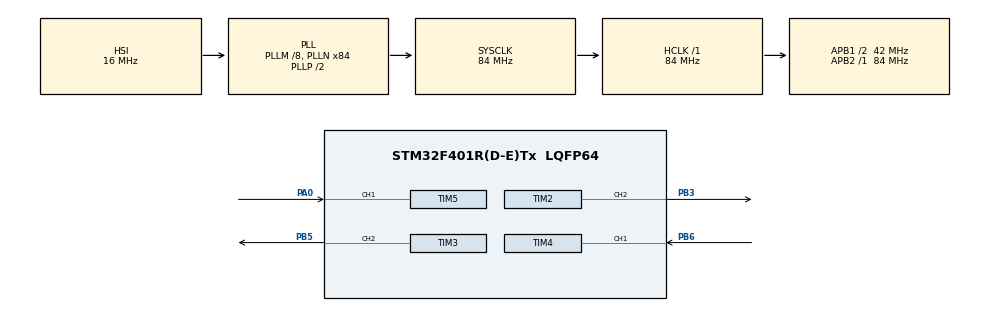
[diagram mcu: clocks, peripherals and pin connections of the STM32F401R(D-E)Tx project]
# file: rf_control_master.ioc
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Mcu.Family=STM32F4
Mcu.Name=STM32F401R(D-E)Tx
Mcu.Package=LQFP64
NVIC.PriorityGroup=NVIC_PRIORITYGROUP_4
NVIC.TIM4_IRQn=true\:0\:0\:false\:false\:true\:true\:true\:true
NVIC.TIM5_IRQn=true\:0\:0\:false\:false\:true\:true\:true\:true
PA0-WKUP.Signal=S_TIM5_CH1
PA13.Mode=Serial_Wire
PA13.Signal=SYS_JTMS-SWDIO
PA14.Mode=Serial_Wire
PA14.Signal=SYS_JTCK-SWCLK
PB3.Signal=S_TIM2_CH2
PB5.Signal=S_TIM3_CH2
PB6.Signal=S_TIM4_CH1
ProjectManager.HeapSize=0x200
ProjectManager.StackSize=0x400
ProjectManager.TargetToolchain=STM32CubeIDE
RCC.48MHZClocksFreq_Value=42000000
RCC.AHBFreq_Value=84000000
RCC.APB1CLKDivider=RCC_HCLK_DIV2
RCC.APB1Freq_Value=42000000
RCC.APB1TimFreq_Value=84000000
RCC.APB2Freq_Value=84000000
RCC.APB2TimFreq_Value=84000000
RCC.CortexFreq_Value=84000000
RCC.HCLKFreq_Value=84000000
RCC.HSE_VALUE=25000000
RCC.HSI_VALUE=16000000
RCC.LSE_VALUE=32768
RCC.PLLM=8
RCC.PLLN=84
RCC.SYSCLKFreq_VALUE=84000000
RCC.SYSCLKSource=RCC_SYSCLKSOURCE_PLLCLK
RCC.VCOOutputFreq_Value=168000000
SH.S_TIM2_CH2.0=TIM2_CH2,PWM Generation2 CH2
SH.S_TIM3_CH2.0=TIM3_CH2,PWM Generation2 CH2
SH.S_TIM4_CH1.0=TIM4_CH1,PWM_Input_1
SH.S_TIM5_CH1.0=TIM5_CH1,PWM_Input_1
TIM2.Channel-PWM\ Generation2\ CH2=TIM_CHANNEL_2
TIM2.Period=2000-1
TIM2.Prescaler=840-1
TIM3.Channel-PWM\ Generation2\ CH2=TIM_CHANNEL_2
TIM3.Period=2000-1
TIM3.Prescaler=840-1
TIM4.Prescaler=840-1
TIM5.Prescaler=840-1
VP_TIM2_VS_ClockSourceINT.Mode=Internal
VP_TIM3_VS_ClockSourceINT.Mode=Internal
board=custom

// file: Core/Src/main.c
/* USER CODE BEGIN Header */
/**
  ******************************************************************************
  * @file           : main.c
  * @brief          : Main program body
  ******************************************************************************
  * @attention
  *
  * Copyright (c) 2024 STMicroelectronics.
  * All rights reserved.
  *
  * This software is licensed under terms that can be found in the LICENSE file
  * in the root directory of this software component.
  * If no LICENSE file comes with this software, it is provided AS-IS.
  *
  ******************************************************************************
  */
/* USER CODE END Header */
#include "main.h"

/* USER CODE BEGIN Includes */
#include "math.h"
/* USER CODE END Includes */

TIM_HandleTypeDef htim2;
TIM_HandleTypeDef htim3;
TIM_HandleTypeDef htim4;
TIM_HandleTypeDef htim5;

/* USER CODE BEGIN PV */
uint32_t ICValue=0;
uint32_t frequency =0,te=0;
double Duty =0;
uint16_t valueServo=0, valueBLDC=0;

/* USER CODE END PV */

void SystemClock_Config(void);
static void MX_GPIO_Init(void);
static void MX_TIM2_Init(void);
static void MX_TIM3_Init(void);
static void MX_TIM4_Init(void);
static void MX_TIM5_Init(void);
/* USER CODE BEGIN PFP */
void HAL_TIM_IC_CaptureCallback(TIM_HandleTypeDef *htim);
int32_t map(int32_t x, int32_t in_min, int32_t in_max, int32_t out_min, int32_t out_max);

/* USER CODE END PFP */

int main(void)
{

  /* MCU Configuration--------------------------------------------------------*/

  /* Reset of all peripherals, Initializes the Flash interface and the Systick. */
  HAL_Init();

  /* Configure the system clock */
  SystemClock_Config();

  /* Initialize all configured peripherals */
  MX_GPIO_Init();
  MX_TIM2_Init();
  MX_TIM3_Init();
  MX_TIM4_Init();
  MX_TIM5_Init();
  /* USER CODE BEGIN 2 */
  /*TIM_4, TIM_9 read PWM */
  HAL_TIM_IC_Start_IT(&htim4, TIM_CHANNEL_1);//main channel
  HAL_TIM_IC_Start_IT(&htim4, TIM_CHANNEL_2);//indirect channel

  HAL_TIM_IC_Start_IT(&htim5, TIM_CHANNEL_1);//main channel
  HAL_TIM_IC_Start_IT(&htim5, TIM_CHANNEL_2);//indirect channel
  /*TIM_3_Ch2:servo, TIM_2_Ch2:bldc */
  HAL_TIM_PWM_Start(&htim2, TIM_CHANNEL_2);
  HAL_TIM_PWM_Start(&htim3, TIM_CHANNEL_2);

  /* USER CODE END 2 */

  /* Infinite loop */
  while (1)
  {

  }
}

void SystemClock_Config(void)
{
  RCC_OscInitTypeDef RCC_OscInitStruct = {0};
  RCC_ClkInitTypeDef RCC_ClkInitStruct = {0};

  /** Configure the main internal regulator output voltage
  */
  __HAL_RCC_PWR_CLK_ENABLE();
  __HAL_PWR_VOLTAGESCALING_CONFIG(PWR_REGULATOR_VOLTAGE_SCALE2);

  /** Initializes the RCC Oscillators according to the specified parameters
  * in the RCC_OscInitTypeDef structure.
  */
  RCC_OscInitStruct.OscillatorType = RCC_OSCILLATORTYPE_HSI;
  RCC_OscInitStruct.HSIState = RCC_HSI_ON;
  RCC_OscInitStruct.HSICalibrationValue = RCC_HSICALIBRATION_DEFAULT;
  RCC_OscInitStruct.PLL.PLLState = RCC_PLL_ON;
  RCC_OscInitStruct.PLL.PLLSource = RCC_PLLSOURCE_HSI;
  RCC_OscInitStruct.PLL.PLLM = 8;
  RCC_OscInitStruct.PLL.PLLN = 84;
  RCC_OscInitStruct.PLL.PLLP = RCC_PLLP_DIV2;
  RCC_OscInitStruct.PLL.PLLQ = 4;
  if (HAL_RCC_OscConfig(&RCC_OscInitStruct) != HAL_OK)
  {
    Error_Handler();
  }

  /** Initializes the CPU, AHB and APB buses clocks
  */
  RCC_ClkInitStruct.ClockType = RCC_CLOCKTYPE_HCLK|RCC_CLOCKTYPE_SYSCLK
                              |RCC_CLOCKTYPE_PCLK1|RCC_CLOCKTYPE_PCLK2;
  RCC_ClkInitStruct.SYSCLKSource = RCC_SYSCLKSOURCE_PLLCLK;
  RCC_ClkInitStruct.AHBCLKDivider = RCC_SYSCLK_DIV1;
  RCC_ClkInitStruct.APB1CLKDivider = RCC_HCLK_DIV2;
  RCC_ClkInitStruct.APB2CLKDivider = RCC_HCLK_DIV1;

  if (HAL_RCC_ClockConfig(&RCC_ClkInitStruct, FLASH_LATENCY_2) != HAL_OK)
  {
    Error_Handler();
  }
}

static void MX_TIM2_Init(void)
{

  TIM_ClockConfigTypeDef sClockSourceConfig = {0};
  TIM_MasterConfigTypeDef sMasterConfig = {0};
  TIM_OC_InitTypeDef sConfigOC = {0};

  htim2.Instance = TIM2;
  htim2.Init.Prescaler = 840-1;
  htim2.Init.CounterMode = TIM_COUNTERMODE_UP;
  htim2.Init.Period = 2000-1;
  htim2.Init.ClockDivision = TIM_CLOCKDIVISION_DIV1;
  htim2.Init.AutoReloadPreload = TIM_AUTORELOAD_PRELOAD_DISABLE;
  if (HAL_TIM_Base_Init(&htim2) != HAL_OK)
  {
    Error_Handler();
  }
  sClockSourceConfig.ClockSource = TIM_CLOCKSOURCE_INTERNAL;
  if (HAL_TIM_ConfigClockSource(&htim2, &sClockSourceConfig) != HAL_OK)
  {
    Error_Handler();
  }
  if (HAL_TIM_PWM_Init(&htim2) != HAL_OK)
  {
    Error_Handler();
  }
  sMasterConfig.MasterOutputTrigger = TIM_TRGO_RESET;
  sMasterConfig.MasterSlaveMode = TIM_MASTERSLAVEMODE_DISABLE;
  if (HAL_TIMEx_MasterConfigSynchronization(&htim2, &sMasterConfig) != HAL_OK)
  {
    Error_Handler();
  }
  sConfigOC.OCMode = TIM_OCMODE_PWM1;
  sConfigOC.Pulse = 0;
  sConfigOC.OCPolarity = TIM_OCPOLARITY_HIGH;
  sConfigOC.OCFastMode = TIM_OCFAST_DISABLE;
  if (HAL_TIM_PWM_ConfigChannel(&htim2, &sConfigOC, TIM_CHANNEL_2) != HAL_OK)
  {
    Error_Handler();
  }
  HAL_TIM_MspPostInit(&htim2);

}

static void MX_TIM3_Init(void)
{

  TIM_ClockConfigTypeDef sClockSourceConfig = {0};
  TIM_MasterConfigTypeDef sMasterConfig = {0};
  TIM_OC_InitTypeDef sConfigOC = {0};

  htim3.Instance = TIM3;
  htim3.Init.Prescaler = 840-1;
  htim3.Init.CounterMode = TIM_COUNTERMODE_UP;
  htim3.Init.Period = 2000-1;
  htim3.Init.ClockDivision = TIM_CLOCKDIVISION_DIV1;
  htim3.Init.AutoReloadPreload = TIM_AUTORELOAD_PRELOAD_DISABLE;
  if (HAL_TIM_Base_Init(&htim3) != HAL_OK)
  {
    Error_Handler();
  }
  sClockSourceConfig.ClockSource = TIM_CLOCKSOURCE_INTERNAL;
  if (HAL_TIM_ConfigClockSource(&htim3, &sClockSourceConfig) != HAL_OK)
  {
    Error_Handler();
  }
  if (HAL_TIM_PWM_Init(&htim3) != HAL_OK)
  {
    Error_Handler();
  }
  sMasterConfig.MasterOutputTrigger = TIM_TRGO_RESET;
  sMasterConfig.MasterSlaveMode = TIM_MASTERSLAVEMODE_DISABLE;
  if (HAL_TIMEx_MasterConfigSynchronization(&htim3, &sMasterConfig) != HAL_OK)
  {
    Error_Handler();
  }
  sConfigOC.OCMode = TIM_OCMODE_PWM1;
  sConfigOC.Pulse = 0;
  sConfigOC.OCPolarity = TIM_OCPOLARITY_HIGH;
  sConfigOC.OCFastMode = TIM_OCFAST_DISABLE;
  if (HAL_TIM_PWM_ConfigChannel(&htim3, &sConfigOC, TIM_CHANNEL_2) != HAL_OK)
  {
    Error_Handler();
  }
  HAL_TIM_MspPostInit(&htim3);

}

static void MX_TIM4_Init(void)
{

  TIM_SlaveConfigTypeDef sSlaveConfig = {0};
  TIM_IC_InitTypeDef sConfigIC = {0};
  TIM_MasterConfigTypeDef sMasterConfig = {0};

  htim4.Instance = TIM4;
  htim4.Init.Prescaler = 840-1;
  htim4.Init.CounterMode = TIM_COUNTERMODE_UP;
  htim4.Init.Period = 65535;
  htim4.Init.ClockDivision = TIM_CLOCKDIVISION_DIV1;
  htim4.Init.AutoReloadPreload = TIM_AUTORELOAD_PRELOAD_DISABLE;
  if (HAL_TIM_IC_Init(&htim4) != HAL_OK)
  {
    Error_Handler();
  }
  sSlaveConfig.SlaveMode = TIM_SLAVEMODE_RESET;
  sSlaveConfig.InputTrigger = TIM_TS_TI1FP1;
  sSlaveConfig.TriggerPolarity = TIM_INPUTCHANNELPOLARITY_RISING;
  sSlaveConfig.TriggerPrescaler = TIM_ICPSC_DIV1;
  sSlaveConfig.TriggerFilter = 0;
  if (HAL_TIM_SlaveConfigSynchro(&htim4, &sSlaveConfig) != HAL_OK)
  {
    Error_Handler();
  }
  sConfigIC.ICPolarity = TIM_INPUTCHANNELPOLARITY_RISING;
  sConfigIC.ICSelection = TIM_ICSELECTION_DIRECTTI;
  sConfigIC.ICPrescaler = TIM_ICPSC_DIV1;
  sConfigIC.ICFilter = 0;
  if (HAL_TIM_IC_ConfigChannel(&htim4, &sConfigIC, TIM_CHANNEL_1) != HAL_OK)
  {
    Error_Handler();
  }
  sConfigIC.ICPolarity = TIM_INPUTCHANNELPOLARITY_FALLING;
  sConfigIC.ICSelection = TIM_ICSELECTION_INDIRECTTI;
  if (HAL_TIM_IC_ConfigChannel(&htim4, &sConfigIC, TIM_CHANNEL_2) != HAL_OK)
  {
    Error_Handler();
  }
  sMasterConfig.MasterOutputTrigger = TIM_TRGO_RESET;
  sMasterConfig.MasterSlaveMode = TIM_MASTERSLAVEMODE_DISABLE;
  if (HAL_TIMEx_MasterConfigSynchronization(&htim4, &sMasterConfig) != HAL_OK)
  {
    Error_Handler();
  }

}

static void MX_TIM5_Init(void)
{

  TIM_SlaveConfigTypeDef sSlaveConfig = {0};
  TIM_IC_InitTypeDef sConfigIC = {0};
  TIM_MasterConfigTypeDef sMasterConfig = {0};

  htim5.Instance = TIM5;
  htim5.Init.Prescaler = 840-1;
  htim5.Init.CounterMode = TIM_COUNTERMODE_UP;
  htim5.Init.Period = 4294967295;
  htim5.Init.ClockDivision = TIM_CLOCKDIVISION_DIV1;
  htim5.Init.AutoReloadPreload = TIM_AUTORELOAD_PRELOAD_DISABLE;
  if (HAL_TIM_IC_Init(&htim5) != HAL_OK)
  {
    Error_Handler();
  }
  sSlaveConfig.SlaveMode = TIM_SLAVEMODE_RESET;
  sSlaveConfig.InputTrigger = TIM_TS_TI1FP1;
  sSlaveConfig.TriggerPolarity = TIM_INPUTCHANNELPOLARITY_RISING;
  sSlaveConfig.TriggerPrescaler = TIM_ICPSC_DIV1;
  sSlaveConfig.TriggerFilter = 0;
  if (HAL_TIM_SlaveConfigSynchro(&htim5, &sSlaveConfig) != HAL_OK)
  {
    Error_Handler();
  }
  sConfigIC.ICPolarity = TIM_INPUTCHANNELPOLARITY_RISING;
  sConfigIC.ICSelection = TIM_ICSELECTION_DIRECTTI;
  sConfigIC.ICPrescaler = TIM_ICPSC_DIV1;
  sConfigIC.ICFilter = 0;
  if (HAL_TIM_IC_ConfigChannel(&htim5, &sConfigIC, TIM_CHANNEL_1) != HAL_OK)
  {
    Error_Handler();
  }
  sConfigIC.ICPolarity = TIM_INPUTCHANNELPOLARITY_FALLING;
  sConfigIC.ICSelection = TIM_ICSELECTION_INDIRECTTI;
  if (HAL_TIM_IC_ConfigChannel(&htim5, &sConfigIC, TIM_CHANNEL_2) != HAL_OK)
  {
    Error_Handler();
  }
  sMasterConfig.MasterOutputTrigger = TIM_TRGO_RESET;
  sMasterConfig.MasterSlaveMode = TIM_MASTERSLAVEMODE_DISABLE;
  if (HAL_TIMEx_MasterConfigSynchronization(&htim5, &sMasterConfig) != HAL_OK)
  {
    Error_Handler();
  }

}

static void MX_GPIO_Init(void)
{

  /* GPIO Ports Clock Enable */
  __HAL_RCC_GPIOA_CLK_ENABLE();
  __HAL_RCC_GPIOB_CLK_ENABLE();

}

/* USER CODE BEGIN 4 */
void HAL_TIM_IC_CaptureCallback(TIM_HandleTypeDef *htim)
{
	if (htim->Instance==TIM4)
	{
		if (htim->Channel== HAL_TIM_ACTIVE_CHANNEL_1)
		{
			ICValue = HAL_TIM_ReadCapturedValue(htim, TIM_CHANNEL_1);
			if (ICValue!= 0 )
			{
				Duty =(HAL_TIM_ReadCapturedValue(htim, TIM_CHANNEL_2)/((float)ICValue)*200);
				frequency =84000000/ICValue;

				/*0-100: duty cycle, 0-2000:CCR value of timer */
				Duty=round(Duty);
				valueServo = map((int32_t)Duty, 0,100,0,999 );
				TIM3->CCR2 =valueServo;
			}

		}
	}

	if (htim->Instance==TIM5)
	{
		if (htim->Channel== HAL_TIM_ACTIVE_CHANNEL_1)
		{
			ICValue = HAL_TIM_ReadCapturedValue(htim, TIM_CHANNEL_1);
			if (ICValue!= 0 )
			{
				Duty =(HAL_TIM_ReadCapturedValue(htim, TIM_CHANNEL_2)/((float)ICValue)*200);
				frequency =84000000/ICValue;

				/*0-100: duty cycle, 0-2000:CCR value of timer */
				Duty=round(Duty);
				valueBLDC = map((int32_t)Duty, 0,100,0,999 );
				TIM2->CCR2 =valueBLDC;
			}

		}
	}
}
int32_t map(int32_t x, int32_t in_min, int32_t in_max, int32_t out_min, int32_t out_max)
{
  return (x - in_min) * (out_max - out_min) / (in_max - in_min) + out_min;
}
/* USER CODE END 4 */

void Error_Handler(void)
{
  __disable_irq();
  while (1)
  {
  }
}
